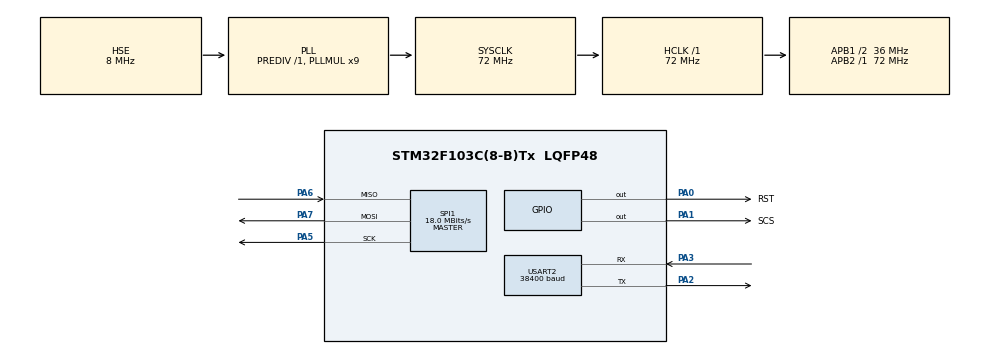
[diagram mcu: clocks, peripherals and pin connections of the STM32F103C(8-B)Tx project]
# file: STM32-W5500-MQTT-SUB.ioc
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Mcu.Family=STM32F1
Mcu.Name=STM32F103C(8-B)Tx
Mcu.Package=LQFP48
NVIC.PriorityGroup=NVIC_PRIORITYGROUP_4
PA0-WKUP.GPIO_Label=RST
PA0-WKUP.Signal=GPIO_Output
PA1.GPIO_Label=SCS
PA1.Signal=GPIO_Output
PA13.Mode=Serial_Wire
PA13.Signal=SYS_JTMS-SWDIO
PA14.Mode=Serial_Wire
PA14.Signal=SYS_JTCK-SWCLK
PA2.Mode=Asynchronous
PA2.Signal=USART2_TX
PA3.Mode=Asynchronous
PA3.Signal=USART2_RX
PA5.Mode=Full_Duplex_Master
PA5.Signal=SPI1_SCK
PA6.Mode=Full_Duplex_Master
PA6.Signal=SPI1_MISO
PA7.Mode=Full_Duplex_Master
PA7.Signal=SPI1_MOSI
PD0-OSC_IN.Mode=HSE-External-Oscillator
PD0-OSC_IN.Signal=RCC_OSC_IN
PD1-OSC_OUT.Mode=HSE-External-Oscillator
PD1-OSC_OUT.Signal=RCC_OSC_OUT
ProjectManager.HeapSize=0x200
ProjectManager.StackSize=0x400
ProjectManager.TargetToolchain=STM32CubeIDE
RCC.AHBFreq_Value=72000000
RCC.APB1CLKDivider=RCC_HCLK_DIV2
RCC.APB1Freq_Value=36000000
RCC.APB1TimFreq_Value=72000000
RCC.APB2Freq_Value=72000000
RCC.APB2TimFreq_Value=72000000
RCC.HCLKFreq_Value=72000000
RCC.PLLMUL=RCC_PLL_MUL9
RCC.PLLSourceVirtual=RCC_PLLSOURCE_HSE
RCC.SYSCLKFreq_VALUE=72000000
RCC.SYSCLKSource=RCC_SYSCLKSOURCE_PLLCLK
RCC.USBFreq_Value=72000000
SPI1.BaudRatePrescaler=SPI_BAUDRATEPRESCALER_4
SPI1.CalculateBaudRate=18.0 MBits/s
SPI1.Direction=SPI_DIRECTION_2LINES
SPI1.Mode=SPI_MODE_MASTER
SPI1.VirtualType=VM_MASTER
USART2.BaudRate=38400
USART2.VirtualMode=VM_ASYNC
board=custom

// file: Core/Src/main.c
/* USER CODE BEGIN Header */
/**
  ******************************************************************************
  * @file           : main.c
  * @brief          : Main program body
  ******************************************************************************
  * @attention
  *
  * Copyright (c) 2025 STMicroelectronics.
  * All rights reserved.
  *
  * This software is licensed under terms that can be found in the LICENSE file
  * in the root directory of this software component.
  * If no LICENSE file comes with this software, it is provided AS-IS.
  *
  ******************************************************************************
  */
/* USER CODE END Header */
#include <Internet/MQTT_interface.h>
#include <Internet/MQTTClient.h>
#include "main.h"

/* USER CODE BEGIN Includes */
#include <stdio.h>

//w5500 related
#include "W5500/W5500_spi.h"
#include "../Inc/Ethernet/wizchip_conf.h"
#include "../Inc/Ethernet/socket.h"

//MQTT Related
/* USER CODE END Includes */

SPI_HandleTypeDef hspi1;

UART_HandleTypeDef huart2;

/* USER CODE BEGIN PV */

wiz_NetInfo gWIZNETINFO = {
		.mac = { 0x80, 0x34, 0x28, 0x74, 0xA5, 0xCB },//MSB - LSB
		.ip ={ 192, 168, 1, 112 },
		.sn = { 255, 255, 255, 0 },
		.gw ={ 192, 168, 1, 1 },
		.dns = { 8, 8, 8, 8 },
		.dhcp = NETINFO_STATIC };

//IP Address of the MQTT broker
uint8_t destination_ip[]={192,168,1,36};
uint16_t destination_port = 1883;

MQTTClient mqtt_client;
Network network;
MQTTPacket_connectData connect_data=MQTTPacket_connectData_initializer;

uint8_t sendbuff[256],receivebuff[256];

/* USER CODE END PV */

void SystemClock_Config(void);
static void MX_GPIO_Init(void);
static void MX_SPI1_Init(void);
static void MX_USART2_UART_Init(void);
/* USER CODE BEGIN PFP */

static void UWriteData(const char data);
static void PHYStatusCheck(void);
static void PrintPHYConf(void);
static void PrintBrokerIP(void);

//Topic handlers, Paho will call them when new message arrives
void OnTopicTemperature(MessageData*);
void OnTopicHumidity(MessageData*);

/* USER CODE END PFP */

int main(void)
{

  /* MCU Configuration--------------------------------------------------------*/

  /* Reset of all peripherals, Initializes the Flash interface and the Systick. */
  HAL_Init();

  /* USER CODE BEGIN Init */

  //code below disables buffering of printf and sends output immediately to USART
  setbuf(stdout, NULL);

  /* USER CODE END Init */

  /* Configure the system clock */
  SystemClock_Config();

  /* Initialize all configured peripherals */
  MX_GPIO_Init();
  MX_SPI1_Init();
  MX_USART2_UART_Init();
  /* USER CODE BEGIN 2 */

  printf("A Simple MQTT Client Subscription Application using W5500!\r\n");

  W5500Init();

  ctlnetwork(CN_SET_NETINFO, (void*) &gWIZNETINFO);

  //Configure PHY by software
  wiz_PhyConf phyconf;

  phyconf.by=PHY_CONFBY_SW;
  phyconf.duplex=PHY_DUPLEX_FULL;
  phyconf.speed=PHY_SPEED_10;
  phyconf.mode=PHY_MODE_AUTONEGO;//best to go with auto-negotiation

  ctlwizchip(CW_SET_PHYCONF, (void*) &phyconf);
  //*** End Phy Configuration

  PHYStatusCheck();
  PrintPHYConf();

  //MQTT Client Part
  connect_data.willFlag = 0;
  connect_data.MQTTVersion = 3;
  connect_data.clientID.cstring = "iotencew55";
  //connect_data.username.cstring = opts.username;
  //connect_data.password.cstring = opts.password;

  connect_data.keepAliveInterval = 60;//seconds
  connect_data.cleansession = 1;

  NewNetwork(&network, 1);//1 is the socket number to use
  PrintBrokerIP();
  printf("Connecting to MQTT Broker ...");

  if(ConnectNetwork(&network, destination_ip, destination_port)!=SOCK_OK){

	  printf("ERROR: Cannot connect with broker!\r\n");
  	  //Broker (server) not reachable
  	  while(1);
    }

  printf("SUCCESS\r\n");

  MQTTClientInit(&mqtt_client, &network, 1000, sendbuff, 256, receivebuff, 256);

  printf("Sending connect packet ...");

  if(MQTTConnect(&mqtt_client, &connect_data)!=MQTT_SUCCESS){

  	  printf("ERROR!");
  	  while(1);
  }

  printf("SUCCESS\r\n");

  //Subscribe to temperature sensor
  MQTTSubscribe(&mqtt_client, "room/temp",QOS0 , OnTopicTemperature);
  printf("Subscribed to topic room/temp\r\n");

    //Subscribe to humidity sensor
  MQTTSubscribe(&mqtt_client, "room/humidity",QOS0 , OnTopicHumidity);
  printf("Subscribed to topic room/humidity\r\n");

  /* USER CODE END 2 */

  /* Infinite loop */
  while (1)
  {

    /* USER CODE BEGIN 3 */
	//Transfer conton to Paho for 250 milliseconds
	MQTTYield(&mqtt_client, 250);

	//Do other application specific things like read sensors,inputs and update displays
  }
  /* USER CODE END 3 */
}

void SystemClock_Config(void)
{
  RCC_OscInitTypeDef RCC_OscInitStruct = {0};
  RCC_ClkInitTypeDef RCC_ClkInitStruct = {0};

  /** Initializes the RCC Oscillators according to the specified parameters
  * in the RCC_OscInitTypeDef structure.
  */
  RCC_OscInitStruct.OscillatorType = RCC_OSCILLATORTYPE_HSE;
  RCC_OscInitStruct.HSEState = RCC_HSE_ON;
  RCC_OscInitStruct.HSEPredivValue = RCC_HSE_PREDIV_DIV1;
  RCC_OscInitStruct.HSIState = RCC_HSI_ON;
  RCC_OscInitStruct.PLL.PLLState = RCC_PLL_ON;
  RCC_OscInitStruct.PLL.PLLSource = RCC_PLLSOURCE_HSE;
  RCC_OscInitStruct.PLL.PLLMUL = RCC_PLL_MUL9;
  if (HAL_RCC_OscConfig(&RCC_OscInitStruct) != HAL_OK)
  {
    Error_Handler();
  }

  /** Initializes the CPU, AHB and APB buses clocks
  */
  RCC_ClkInitStruct.ClockType = RCC_CLOCKTYPE_HCLK|RCC_CLOCKTYPE_SYSCLK
                              |RCC_CLOCKTYPE_PCLK1|RCC_CLOCKTYPE_PCLK2;
  RCC_ClkInitStruct.SYSCLKSource = RCC_SYSCLKSOURCE_PLLCLK;
  RCC_ClkInitStruct.AHBCLKDivider = RCC_SYSCLK_DIV1;
  RCC_ClkInitStruct.APB1CLKDivider = RCC_HCLK_DIV2;
  RCC_ClkInitStruct.APB2CLKDivider = RCC_HCLK_DIV1;

  if (HAL_RCC_ClockConfig(&RCC_ClkInitStruct, FLASH_LATENCY_2) != HAL_OK)
  {
    Error_Handler();
  }
}

static void MX_SPI1_Init(void)
{

  /* SPI1 parameter configuration*/
  hspi1.Instance = SPI1;
  hspi1.Init.Mode = SPI_MODE_MASTER;
  hspi1.Init.Direction = SPI_DIRECTION_2LINES;
  hspi1.Init.DataSize = SPI_DATASIZE_8BIT;
  hspi1.Init.CLKPolarity = SPI_POLARITY_LOW;
  hspi1.Init.CLKPhase = SPI_PHASE_1EDGE;
  hspi1.Init.NSS = SPI_NSS_SOFT;
  hspi1.Init.BaudRatePrescaler = SPI_BAUDRATEPRESCALER_4;
  hspi1.Init.FirstBit = SPI_FIRSTBIT_MSB;
  hspi1.Init.TIMode = SPI_TIMODE_DISABLE;
  hspi1.Init.CRCCalculation = SPI_CRCCALCULATION_DISABLE;
  hspi1.Init.CRCPolynomial = 10;
  if (HAL_SPI_Init(&hspi1) != HAL_OK)
  {
    Error_Handler();
  }

}

static void MX_USART2_UART_Init(void)
{

  huart2.Instance = USART2;
  huart2.Init.BaudRate = 38400;
  huart2.Init.WordLength = UART_WORDLENGTH_8B;
  huart2.Init.StopBits = UART_STOPBITS_1;
  huart2.Init.Parity = UART_PARITY_NONE;
  huart2.Init.Mode = UART_MODE_TX_RX;
  huart2.Init.HwFlowCtl = UART_HWCONTROL_NONE;
  huart2.Init.OverSampling = UART_OVERSAMPLING_16;
  if (HAL_UART_Init(&huart2) != HAL_OK)
  {
    Error_Handler();
  }

}

static void MX_GPIO_Init(void)
{
  GPIO_InitTypeDef GPIO_InitStruct = {0};

  /* GPIO Ports Clock Enable */
  __HAL_RCC_GPIOD_CLK_ENABLE();
  __HAL_RCC_GPIOA_CLK_ENABLE();

  /*Configure GPIO pin Output Level */
  HAL_GPIO_WritePin(GPIOA, RST_Pin|SCS_Pin, GPIO_PIN_RESET);

  /*Configure GPIO pins : RST_Pin SCS_Pin */
  GPIO_InitStruct.Pin = RST_Pin|SCS_Pin;
  GPIO_InitStruct.Mode = GPIO_MODE_OUTPUT_PP;
  GPIO_InitStruct.Pull = GPIO_NOPULL;
  GPIO_InitStruct.Speed = GPIO_SPEED_FREQ_LOW;
  HAL_GPIO_Init(GPIOA, &GPIO_InitStruct);

}

/* USER CODE BEGIN 4 */

void OnTopicTemperature(MessageData* msg_data){
	printf("New message on topic room/temp\r\n");
}

void OnTopicHumidity(MessageData* msg_data){
	printf("New message on topic room/humidity\r\n");
}

void UWriteData(const char data){

	while(__HAL_UART_GET_FLAG(&huart2,UART_FLAG_TXE)==RESET);
	//huart2.Instance->TDR=data;
	huart2.Instance->DR=data;
}

int __io_putchar(int ch){
	UWriteData(ch);
	return ch;
}

void PHYStatusCheck(void){

	uint8_t tmp;

	do{
		printf("\r\nChecking Ethernet Cable Presence ...");
		ctlwizchip(CW_GET_PHYLINK, (void*) &tmp);

		if(tmp == PHY_LINK_OFF){
			printf("NO Cable Connected!");
			HAL_Delay(1500);
		}
	}while(tmp == PHY_LINK_OFF);

	printf("Good! Cable got connected!");
}

void PrintPHYConf(void){

	wiz_PhyConf phyconf;

	ctlwizchip(CW_GET_PHYCONF, (void*) &phyconf);

	if(phyconf.by==PHY_CONFBY_HW){
		printf("\r\nPHY Configured by Hardware Pins");
	}
	else{
		printf("\r\nPHY Configured by Registers");
	}

	if(phyconf.mode==PHY_MODE_AUTONEGO){
		printf("\r\nAutonegotiation Enabled");
	}
	else{
		printf("\r\nAutonegotiation NOT Enabled");
	}

	if(phyconf.duplex==PHY_DUPLEX_FULL){
		printf("\r\nDuplex Mode: Full");
	}
	else{
		printf("\r\nDuplex Mode: Half");
	}

	if(phyconf.speed==PHY_SPEED_10){
		printf("\r\nSpeed: 10Mbps");
	}
	else{
		printf("\r\nSpeed: 100Mbps");
	}
}

static void PrintBrokerIP(void){
	printf("Broker IP: %d.%d.%d.%d\r\n",destination_ip[0],destination_ip[1],destination_ip[2],destination_ip[3]);
}

/* USER CODE END 4 */

void Error_Handler(void)
{
  __disable_irq();
  while (1)
  {
  }
}
